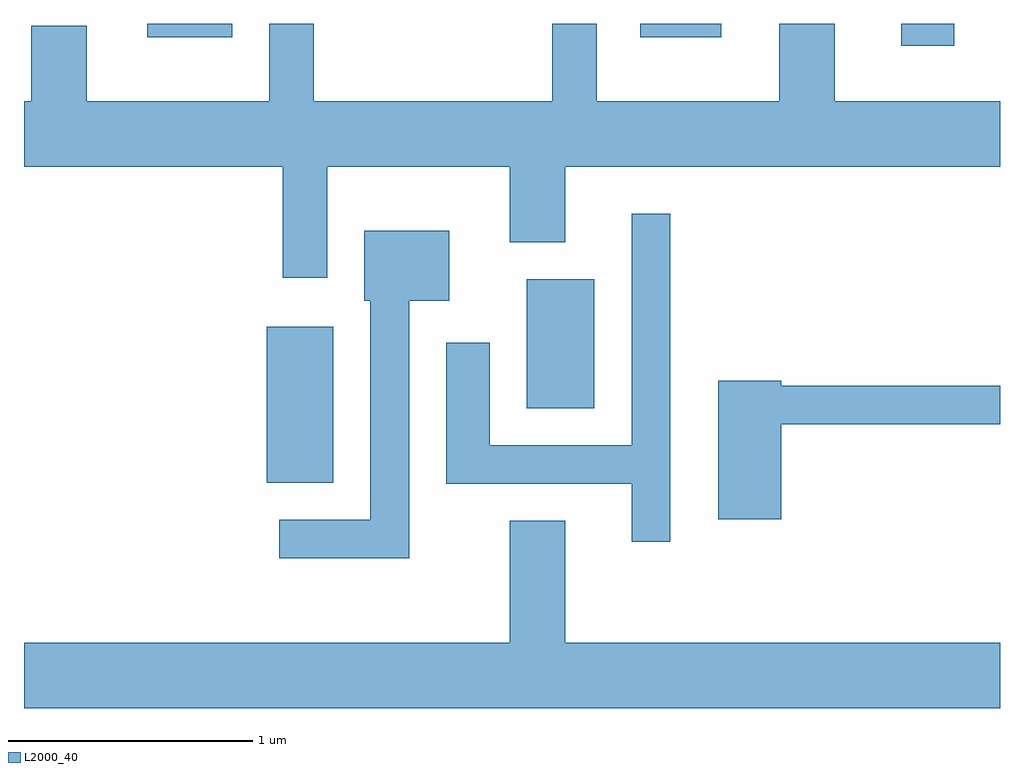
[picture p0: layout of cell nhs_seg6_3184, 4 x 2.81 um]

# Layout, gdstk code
import gdstk
lib = gdstk.Library(unit=1e-6, precision=1e-09)
def R(c, l, rs):  # rectangles x0, y0, x1, y1
    for r in rs: c.add(gdstk.rectangle(r[:2], r[2:], *l))
def P(c, l, *ps):  # polygons
    for p in ps: c.add(gdstk.Polygon(p, *l))
L2000_40 = (2000, 40)

nhs_seg6_3184 = lib.new_cell('nhs_seg6_3184')
R(nhs_seg6_3184, L2000_40, [(282.606,1564.281,282.879,1564.919), (283.671,1564.586,283.949,1565.114), (285.206,1566.071,285.424,1566.162), (282.116,1566.106,282.464,1566.162), (284.136,1566.106,284.468,1566.162)])
P(nhs_seg6_3184, L2000_40, [(282.854,1565.576),(283.601,1565.576),(283.601,1565.266),(283.829,1565.266),(283.829,1565.576),(285.611,1565.576),(285.611,1565.844),(284.934,1565.844),(284.934,1566.162),(284.706,1566.162),(284.706,1565.844),(283.959,1565.844),(283.959,1566.162),(283.776,1566.162),(283.776,1565.844),(282.799,1565.844),(282.799,1566.162),(282.616,1566.162),(282.616,1565.844),(281.869,1565.844),(281.869,1566.154),(281.641,1566.154),(281.641,1565.844),(281.611,1565.844),(281.611,1565.576),(282.671,1565.576),(282.671,1565.121),(282.854,1565.121)],
  [(284.259,1565.383),(284.101,1565.383),(284.101,1564.434),(283.519,1564.434),(283.519,1564.854),(283.341,1564.854),(283.341,1564.276),(284.101,1564.276),(284.101,1564.038),(284.259,1564.038)],
  [(283.189,1565.026),(283.354,1565.026),(283.354,1565.314),(283.006,1565.314),(283.006,1565.026),(283.031,1565.026),(283.031,1564.129),(282.658,1564.129),(282.658,1563.971),(283.189,1563.971)],
  [(284.714,1564.521),(285.611,1564.521),(285.611,1564.679),(284.714,1564.679),(284.714,1564.699),(284.456,1564.699),(284.456,1564.131),(284.714,1564.131)],
  [(285.611,1563.624),(283.829,1563.624),(283.829,1564.124),(283.601,1564.124),(283.601,1563.624),(281.611,1563.624),(281.611,1563.356),(285.611,1563.356)])

lib.write_gds('nhs_seg6_3184.gds')
